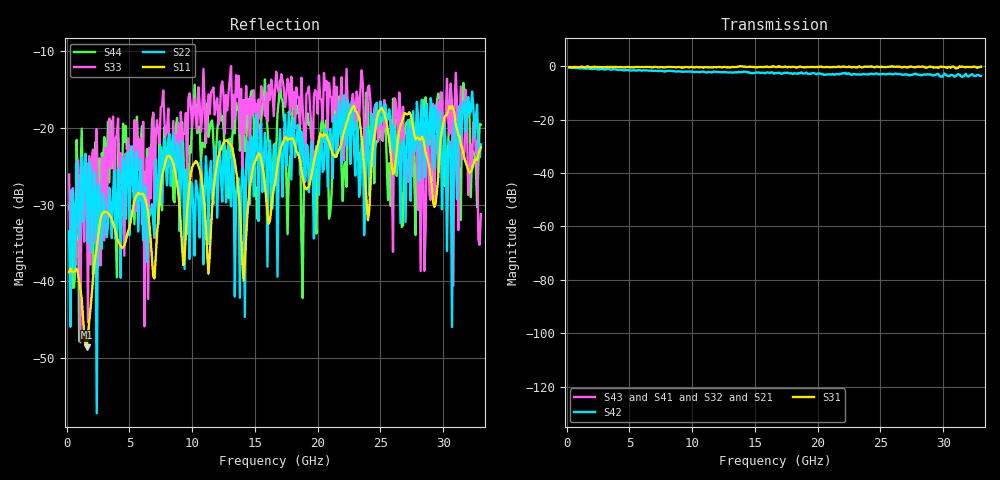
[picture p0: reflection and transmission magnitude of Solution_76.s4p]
# GHZ S RI R 50
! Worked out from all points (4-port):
!   329 points, 200 MHz to 33 GHz, reference 50 ohm
!   strongest paths, dB at 200 MHz, 8.4 GHz, 16.6 GHz, 24.8 GHz, 33 GHz:
!     S31: -0.4, -0.4, -0.3, -0.2, -0.2
!     S42: -0.5, -1.9, -2.6, -2.9, -3.7
!     S43: -, -, -, -, -
!     S41: -, -, -, -, -
!     S32: -, -, -, -, -
!     S21: -, -, -, -, -
!   lowest |S11| = -48.6 dB at 1.6 GHz (marker M1), VSWR 1.01, Z = 50.1 + j0.362 ohm
!   |S11| at or under -10 dB: start of sweep to end of sweep
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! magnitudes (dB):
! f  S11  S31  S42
! 200 MHz  -38.8  -0.4  -0.5
! 1.6 GHz  -48.6  -0.2  -0.9
! 2.3 GHz  -36.7  -0.3  -1.0
! 2.4 GHz  -35.6  -0.3  -1.1
! 2.5 GHz  -34.3  -0.3  -1.2
! 5.2 GHz  -31.2  -0.5  -1.6
! 33 GHz  -22.5  -0.2  -3.7
